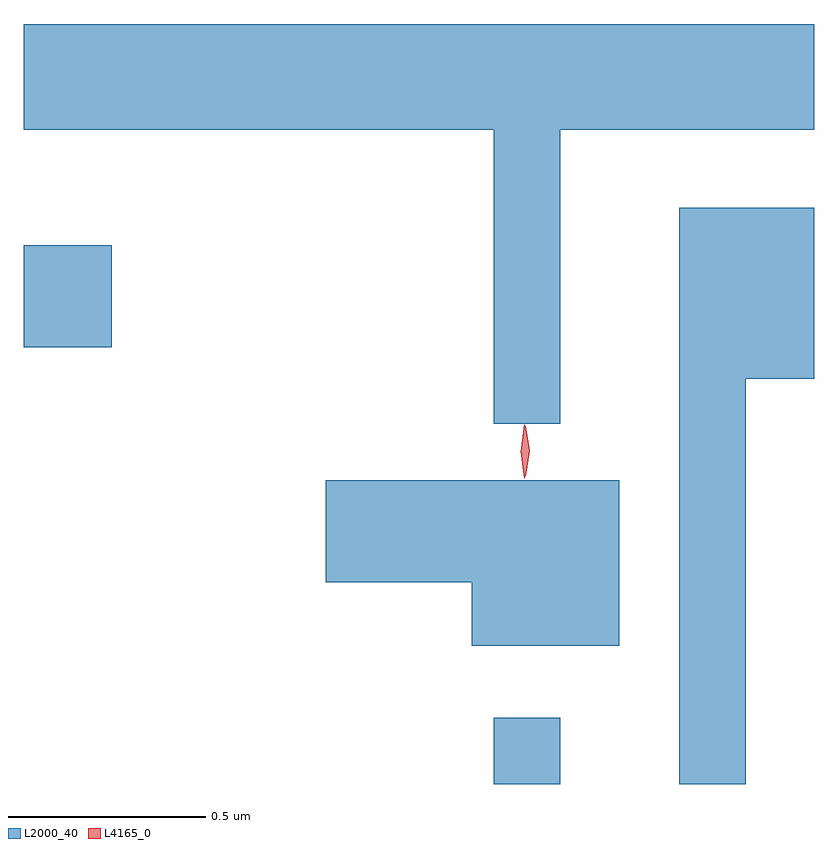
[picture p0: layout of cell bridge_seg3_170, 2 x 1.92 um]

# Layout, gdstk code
import gdstk
lib = gdstk.Library(unit=1e-6, precision=1e-09)
def R(c, l, rs):  # rectangles x0, y0, x1, y1
    for r in rs: c.add(gdstk.rectangle(r[:2], r[2:], *l))
def P(c, l, *ps):  # polygons
    for p in ps: c.add(gdstk.Polygon(p, *l))
L2000_40 = (2000, 40)
L4165_0 = (4165, 0)

bridge_seg3_170 = lib.new_cell('bridge_seg3_170')
R(bridge_seg3_170, L2000_40, [(832.141,1202.061,832.309,1202.228), (830.952,1203.166,831.174,1203.424)])
P(bridge_seg3_170, L2000_40, [(832.309,1203.716),(832.952,1203.716),(832.952,1203.984),(830.952,1203.984),(830.952,1203.716),(832.141,1203.716),(832.141,1202.973),(832.309,1202.973)],
  [(832.779,1203.086),(832.952,1203.086),(832.952,1203.519),(832.611,1203.519),(832.611,1202.061),(832.779,1202.061)],
  [(832.459,1202.829),(831.716,1202.829),(831.716,1202.571),(832.086,1202.571),(832.086,1202.411),(832.459,1202.411)])
P(bridge_seg3_170, L4165_0, [(832.218,1202.834),(832.209,1202.902),(832.218,1202.97),(832.219,1202.97),(832.22,1202.97),(832.229,1202.902),(832.22,1202.834),(832.219,1202.834)],
  [(832.221,1202.84),(832.212,1202.904),(832.221,1202.966),(832.222,1202.967),(832.222,1202.966),(832.232,1202.904),(832.222,1202.84),(832.222,1202.84)])

lib.write_gds('bridge_seg3_170.gds')
